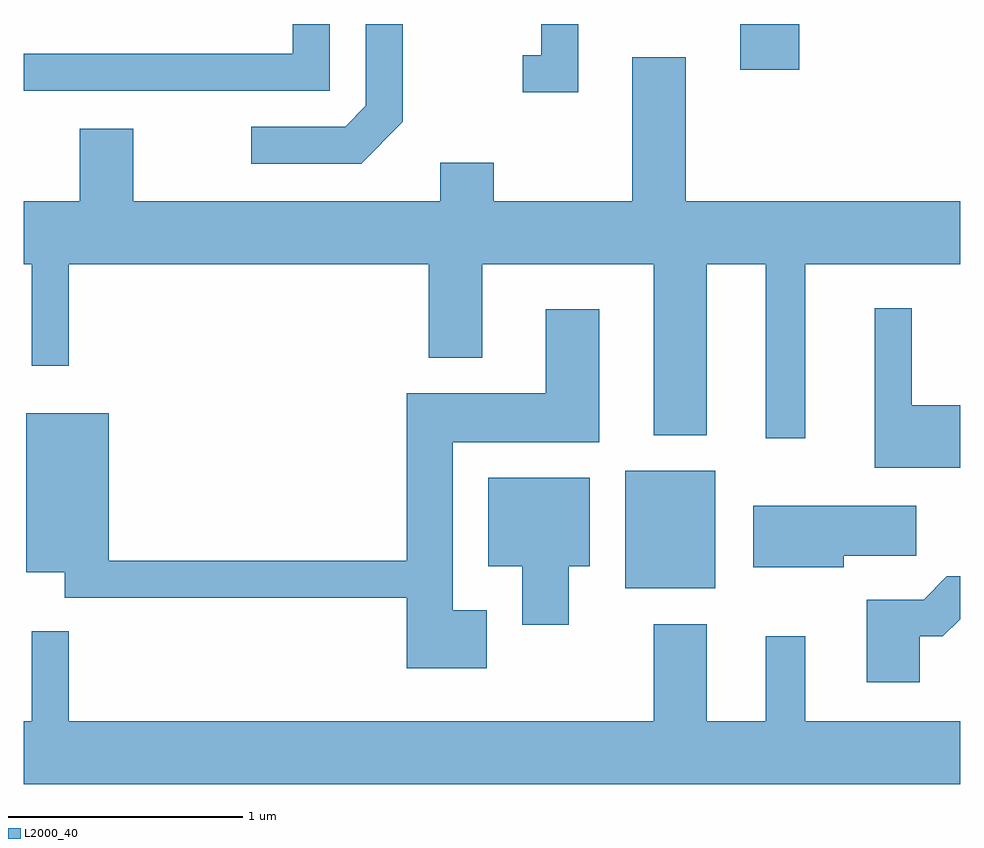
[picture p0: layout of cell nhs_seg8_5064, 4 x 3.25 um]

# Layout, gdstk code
import gdstk
lib = gdstk.Library(unit=1e-6, precision=1e-09)
def R(c, l, rs):  # rectangles x0, y0, x1, y1
    for r in rs: c.add(gdstk.rectangle(r[:2], r[2:], *l))
def P(c, l, *ps):  # polygons
    for p in ps: c.add(gdstk.Polygon(p, *l))
L2000_40 = (2000, 40)

nhs_seg8_5064 = lib.new_cell('nhs_seg8_5064')
R(nhs_seg8_5064, L2000_40, [(340.181,1823.931,340.564,1824.434), (340.671,1826.146,340.924,1826.342)])
P(nhs_seg8_5064, L2000_40, [(339.229,1825.924),(339.229,1826.342),(339.071,1826.342),(339.071,1825.992),(338.984,1825.904),(338.583,1825.904),(338.583,1825.746),(339.052,1825.746)],
  [(339.979,1826.342),(339.821,1826.342),(339.821,1826.209),(339.743,1826.209),(339.743,1826.051),(339.979,1826.051)],
  [(338.919,1826.342),(338.761,1826.342),(338.761,1826.214),(337.611,1826.214),(337.611,1826.056),(338.919,1826.056)],
  [(340.439,1826.199),(340.211,1826.199),(340.211,1825.584),(339.619,1825.584),(339.619,1825.749),(339.391,1825.749),(339.391,1825.584),(338.079,1825.584),(338.079,1825.894),(337.851,1825.894),(337.851,1825.584),(337.611,1825.584),(337.611,1825.316),(337.646,1825.316),(337.646,1824.883),(337.804,1824.883),(337.804,1825.316),(339.341,1825.316),(339.341,1824.916),(339.569,1824.916),(339.569,1825.316),(340.301,1825.316),(340.301,1824.586),(340.529,1824.586),(340.529,1825.316),(340.781,1825.316),(340.781,1824.573),(340.949,1824.573),(340.949,1825.316),(341.611,1825.316),(341.611,1825.584),(340.439,1825.584)],
  [(341.611,1824.714),(341.404,1824.714),(341.404,1825.128),(341.246,1825.128),(341.246,1824.446),(341.611,1824.446)],
  [(339.589,1823.839),(339.444,1823.839),(339.444,1824.556),(340.069,1824.556),(340.069,1825.124),(339.841,1825.124),(339.841,1824.764),(339.246,1824.764),(339.246,1824.049),(337.974,1824.049),(337.974,1824.679),(337.621,1824.679),(337.621,1824.001),(337.786,1824.001),(337.786,1823.891),(339.246,1823.891),(339.246,1823.591),(339.589,1823.591)],
  [(339.939,1824.026),(340.029,1824.026),(340.029,1824.404),(339.596,1824.404),(339.596,1824.026),(339.741,1824.026),(339.741,1823.776),(339.939,1823.776)],
  [(341.114,1824.071),(341.424,1824.071),(341.424,1824.284),(340.726,1824.284),(340.726,1824.021),(341.114,1824.021)],
  [(341.439,1823.726),(341.537,1823.726),(341.611,1823.8),(341.611,1823.984),(341.554,1823.984),(341.454,1823.884),(341.211,1823.884),(341.211,1823.531),(341.439,1823.531)],
  [(341.611,1823.364),(340.949,1823.364),(340.949,1823.728),(340.781,1823.728),(340.781,1823.364),(340.529,1823.364),(340.529,1823.779),(340.301,1823.779),(340.301,1823.364),(337.804,1823.364),(337.804,1823.748),(337.646,1823.748),(337.646,1823.364),(337.611,1823.364),(337.611,1823.096),(341.611,1823.096)])

lib.write_gds('nhs_seg8_5064.gds')
